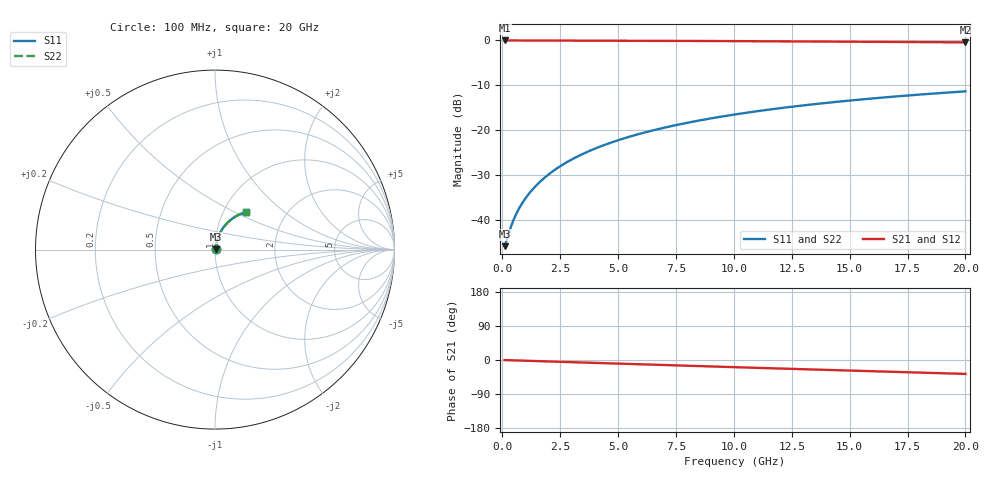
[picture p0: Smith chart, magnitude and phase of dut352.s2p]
! Touchstone file exported from HFSS 2026.1.0
!  File:  C:/ffzhzh/LocalFiles/Ansys_Project_Files/temp_train_TMRDL_352_1783004016_51716.aedt
!  Generated:  10:54:50 PM Jul  2, 2026
!  Design:  TMRDL
!  Project:  temp_train_TMRDL_352_1783004016_51716
! Variables:
!  h_bsmrdl = 2um
!  h_ox = 20um
!  h_rdl = 5um
!  h_sub = 80um
!  h_tmrdl = 2.66um
!  h_tsv = 80um
!  h_via = 3um
!  l_bsmrdl = 300um
!  l_sub = 981.32um
!  l_tmrdl = 581.32um
!  m_sub = 200um
!  pitch = 29.19um
!  r_tsv = 6um
!  s_tmrdl = 10um
!  w_bsmrdl = 18um
!  w_sub = 500um
!  w_tmrdl = 16.78um
!  x_tsv_center1 = 589.71um
!  x_tsv_center2 = 907.71um
!  x_tsv_center3 = 1505.81um
!  x_tsv_center4 = 1823.81um
!  x_tsv_center5 = 2421.91um
!  x_tsv_center6 = 2739.91um
# GHz S MA R 50.000000
! Terminal data exported
! Port[1] = TM_RDL1_1_T1
! Port[2] = TM_RDL1_1_T2
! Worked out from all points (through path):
!   200 points, 100 MHz to 20 GHz, reference 50 ohm
!   highest |S21| = -0.04 dB at 100 MHz (marker M1); lowest = -0.5 dB at 20 GHz (marker M2)
!   group delay of S21, straight-line fit = 5.09 ps
!   lowest |S11| = -45.8 dB at 100 MHz (marker M3), VSWR 1.01, Z = 50.5 + j0.184 ohm
!   |S11| at or under -10 dB: start of sweep to end of sweep
!   |S22| runs from -45.8 to -11.4 dB; largest |S21 - S12| = 3.4e-15
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0.1  0.005128 20.8  0.9952 -0.2  0.9952 -0.2  0.005128 20.8
! Gamma 0 0 0 0
! Port Impedance 50 0 50 0
0.4  0.008808 52.4  0.9947 -0.8  0.9947 -0.8  0.008807 52.4
0.5  0.01024 56.7  0.9945 -1.0  0.9945 -1.0  0.01024 56.7
0.6  0.01168 60.0  0.9943 -1.2  0.9943 -1.2  0.01168 60.0
0.7  0.01312 62.5  0.9942 -1.4  0.9942 -1.4  0.01312 62.5
0.9  0.016 66.2  0.9939 -1.8  0.9939 -1.8  0.016 66.2
1.2  0.02035 69.8  0.9936 -2.3  0.9936 -2.3  0.02035 69.8
1.4  0.02329 71.4  0.9934 -2.7  0.9934 -2.7  0.02329 71.4
1.7  0.02773 73.2  0.9932 -3.3  0.9932 -3.3  0.02772 73.2
2.2  0.0352 74.8  0.9927 -4.2  0.9927 -4.2  0.0352 74.9
2.8  0.04424 75.7  0.9922 -5.4  0.9922 -5.4  0.04424 75.7
3.5  0.0548 75.8  0.9914 -6.7  0.9914 -6.7  0.0548 75.8
4.2  0.06534 75.5  0.9905 -8.1  0.9905 -8.1  0.06533 75.5
5  0.0773 74.7  0.9893 -9.6  0.9893 -9.6  0.0773 74.7
5.9  0.09063 73.6  0.9878 -11.3  0.9878 -11.3  0.09063 73.6
6.8  0.1038 72.3  0.986 -13.0  0.986 -13.0  0.1038 72.3
8.3  0.1253 69.9  0.9828 -15.8  0.9828 -15.8  0.1253 70.0
10.1  0.1503 67.0  0.9783 -19.1  0.9783 -19.1  0.1503 67.0
11.7  0.1718 64.2  0.974 -22.0  0.974 -22.0  0.1717 64.3
13.4  0.1937 61.4  0.969 -25.1  0.969 -25.1  0.1937 61.4
16.7  0.2338 55.8  0.9588 -30.9  0.9588 -30.9  0.2337 55.9
20  0.2703 50.2  0.9482 -36.7  0.9482 -36.7  0.2703 50.4
